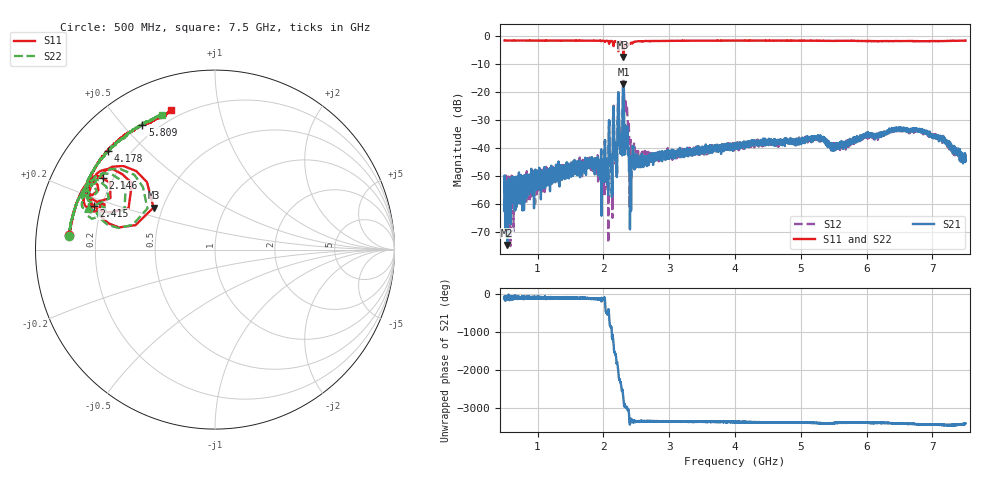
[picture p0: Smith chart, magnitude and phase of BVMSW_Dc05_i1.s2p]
!Keysight Technologies,M9374A,MY55442783,A.12.55.05
!Date: Thursday, May 20, 2021 18:40:11
!Correction: S11(Full 2 Port(1,2))
!S21(Full 2 Port(1,2))
!S12(Full 2 Port(1,2))
!S22(Full 2 Port(1,2))
!S2P File: Measurements: S11, S21, S12, S22:
# Hz S  RI  R 50
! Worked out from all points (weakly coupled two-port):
!   7001 points, 500 MHz to 7.5 GHz, reference 50 ohm
!   highest |S21| = -17.27 dB at 2.306 GHz (marker M1); lowest = -74.5 dB at 541 MHz (marker M2)
!   lowest |S11| = -7.6 dB at 2.304 GHz (marker M3), VSWR 2.42, Z = 22.3 + j12.6 ohm
!   |S11| at or under -10 dB: nowhere
!   |S22| runs from -7.1 to -1.7 dB; largest |S21 - S12| = 0.072
!   S11 on the Smith chart (normalised r, x): 500 MHz: 0.10, +0.05; 2.146 GHz: 0.16, +0.29; 2.415 GHz: 0.17, +0.17; 4.178 GHz: 0.12, +0.38; 5.809 GHz: 0.14, +0.57; 7.5 GHz: 0.16, +0.72
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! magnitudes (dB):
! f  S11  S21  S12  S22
! 500 MHz  -1.8  -54.5  -55.9  -1.7
! 541 MHz  -1.8  -74.5  -64.2  -1.8
! 1.667 GHz  -1.8  -45.8  -47.5  -1.8
! 2.041 GHz  -1.9  -45.7  -44.9  -1.9
! 2.057 GHz  -1.9  -46.5  -48.7  -1.9
! 2.146 GHz  -2.6  -32.2  -31.7  -2.7
! 2.247 GHz  -2.3  -38.7  -36.6  -2.3
! 2.269 GHz  -2.3  -37.5  -38.2  -2.3
! 2.304 GHz  -7.6  -17.7  -16.7  -7.1
! 2.306 GHz  -7.6  -17.3  -16.1  -7.1
! 2.334 GHz  -3.3  -33.3  -24.1  -3.2
! 2.371 GHz  -3.5  -38.9  -31.6  -3.4
! 2.415 GHz  -2.9  -46.1  -37.1  -2.9
! 2.834 GHz  -1.9  -42.6  -43.5  -1.9
! 4 GHz  -1.8  -38.3  -39.7  -1.8
! 4.178 GHz  -1.8  -38.1  -38.0  -1.8
! 5.167 GHz  -1.8  -37.2  -37.1  -1.9
! 5.49 GHz  -1.9  -39.3  -40.6  -1.9
! 5.809 GHz  -1.9  -36.5  -37.2  -1.8
! 6.334 GHz  -2.0  -34.3  -34.1  -1.8
! 6.863 GHz  -2.0  -34.1  -34.3  -1.9
! 7.5 GHz  -1.8  -43.4  -42.9  -1.9
